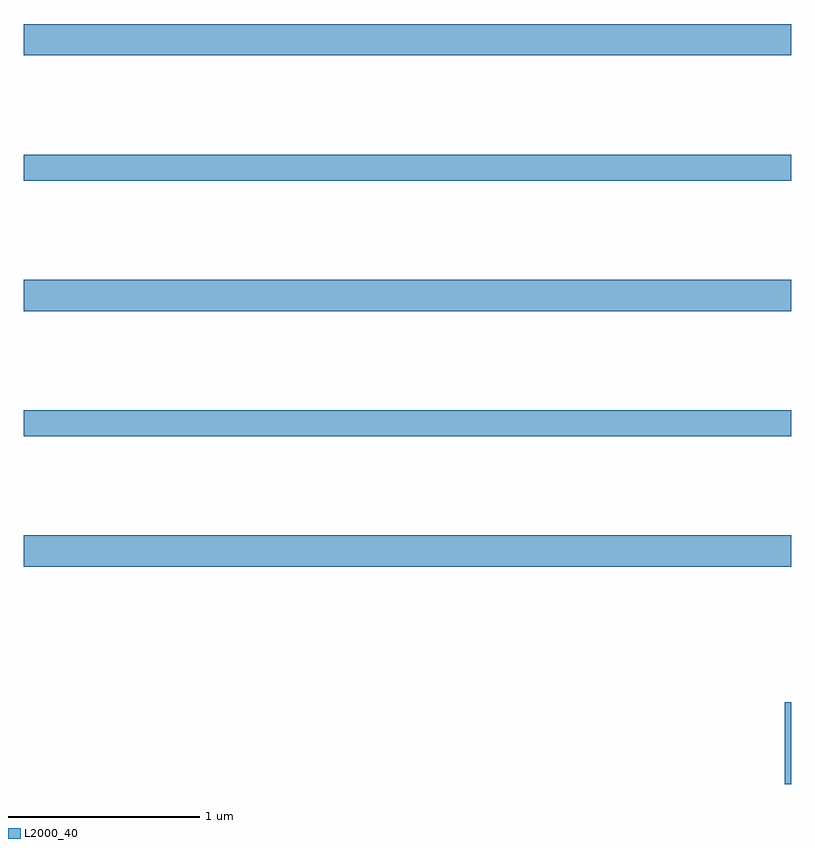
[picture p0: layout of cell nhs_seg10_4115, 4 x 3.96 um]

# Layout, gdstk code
import gdstk
lib = gdstk.Library(unit=1e-6, precision=1e-09)
def R(c, l, rs):  # rectangles x0, y0, x1, y1
    for r in rs: c.add(gdstk.rectangle(r[:2], r[2:], *l))
def A(c, l, x, y, w, h, nx, ny, dx, dy):  # array of equal rectangles
    R(c, l, [(x+i*dx, y+j*dy, x+i*dx+w, y+j*dy+h) for i in range(nx) for j in range(ny)])
L2000_40 = (2000, 40)

nhs_seg10_4115 = lib.new_cell('nhs_seg10_4115')
A(nhs_seg10_4115, L2000_40, 339, 1317.632, 4, 0.164, 1, 3, 0, 1.332)
R(nhs_seg10_4115, L2000_40, [(342.965,1316.5,343,1316.926), (339,1318.312,343,1318.448), (339,1319.644,343,1319.78)])

lib.write_gds('nhs_seg10_4115.gds')
